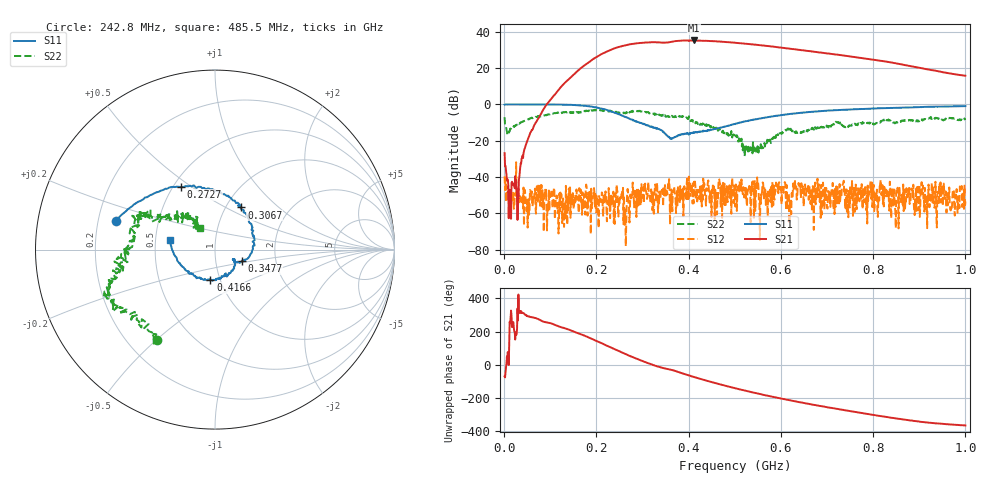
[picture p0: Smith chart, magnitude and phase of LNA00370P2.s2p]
! Created with skrf 1.9.0 (http://scikit-rf.org).
# Hz S RI R 50.0
!freq ReS11 ImS11 ReS21 ImS21 ReS12 ImS12 ReS22 ImS22
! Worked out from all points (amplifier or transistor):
!   1001 points, 1 MHz to 1 GHz, reference 50 ohm
!   highest |S21| = 35.2 dB at 410.6 MHz (marker M1)
!   |S21| within 3 dB of that: 257.1 MHz to 568.8 MHz (311.7 MHz wide, 75.5 % of centre)
!   unconditionally stable (mu >= 1): 243.8 MHz to 297.7 MHz; 312.9 MHz to 396.6 MHz; 400.7 MHz to end of sweep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
!   at 166.8 MHz: K = 2.12, MAG = 30.9 dB, |S12| = -53.8 dB
!   at 500.5 MHz: K = 2.06, MAG = 34.5 dB, |S12| = -46.6 dB
!   at 1 GHz: K = 6.40, MAG = 23.6 dB, |S12| = -53.5 dB
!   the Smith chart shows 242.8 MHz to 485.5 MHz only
!   S11 on the Smith chart (normalised r, x): 242.8 MHz: 0.28, +0.13; 272.7 MHz: 0.55, +0.45; 306.7 MHz: 1.18, +0.60; 347.7 MHz: 1.34, -0.18; 416.6 MHz: 0.90, -0.31; 485.5 MHz: 0.59, +0.07
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1000000  0.9856 0.00729  0.0145 -0.0431  -0.00999 0.00306  0.3179 0.3101
1.08892e8  0.5101 -0.8534  -0.8654 -1.59  0.00273 -0.00329  0.4227 -0.3849
1.67833e8  -0.2548 -0.896  -10.33 -0.3869  0.00103 0.00215  0.032 -0.6257
2.09791e8  -0.6799 -0.3706  -15.67 17.86  -0.0011 -0.00174  -0.2054 -0.654
2.42758e8  -0.5488 0.1575  0.7719 36  -7.65e-05 0.00204  -0.3236 -0.5061
2.72728e8  -0.1892 0.3492  27.69 35.86  -0.00123 -0.000586  -0.5285 -0.3203
3.06694e8  0.1471 0.2347  49.13 12.21  -0.00264 0.00336  -0.5911 -0.17
3.34666e8  0.212 0.00793  49.76 -11.8  -0.00304 0.000489  -0.5228 -0.0237
3.47653e8  0.1491 -0.0642  46.2 -19.43  -0.00306 0.000307  -0.4826 0.0225
3.75625e8  0.11 -0.0764  40.83 -38.42  0.000803 0.00145  -0.4269 0.1764
4.1059e8  0.00502 -0.1627  15.47 -55.58  0.00122 0.00143  -0.2963 0.1789
4.16584e8  -0.0252 -0.1695  10.48 -56.54  0.00229 0.00335  -0.2536 0.1758
4.46554e8  -0.1591 -0.1187  -12.7 -54.27  0.00157 0.00371  -0.1757 0.1809
4.85515e8  -0.2518 0.0558  -34.67 -38.47  0.00502 -0.000745  -0.0849 0.1177
5.005e8  -0.2546 0.1293  -40.01 -30.25  -0.00455 -0.000994  -0.096 0.1291
5.4046e8  -0.1792 0.3346  -43.87 -8.313  0.00604 -0.000313  -0.061 0.0175
5.88412e8  0.0191 0.4813  -36.25 12.49  0.00386 0.00099  -0.0831 -0.0847
6.67333e8  0.3953 0.4831  -13.58 25.08  -0.000666 0.001  -0.1993 -0.0565
7.53247e8  0.6746 0.274  4.664 20.14  -0.000218 -0.00319  -0.2578 -0.0188
8.34166e8  0.794 0.0127  11.07 9.579  -0.000109 -0.00214  -0.361 -0.024
9.09091e8  0.8123 -0.2518  9.482 1.973  -0.00218 -0.000674  -0.3565 0.1334
1e9  0.7211 -0.5318  6.087 -0.8964  -0.00212 5.32e-05  -0.2742 0.2532
